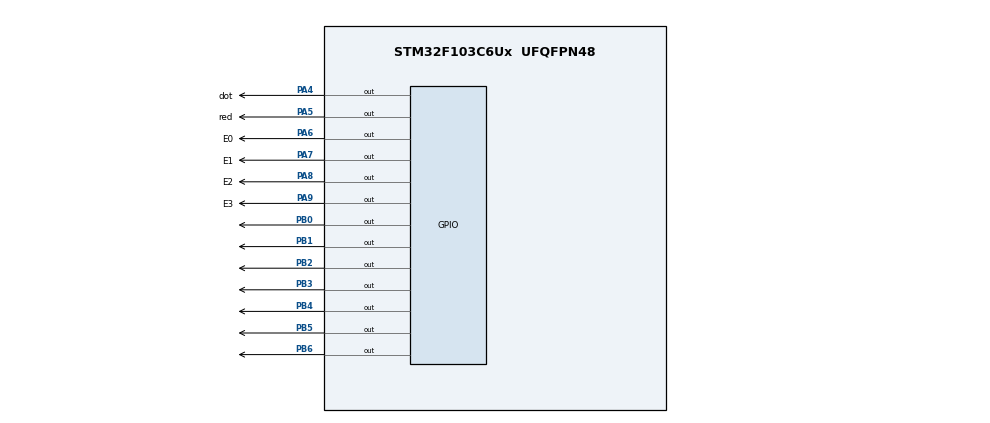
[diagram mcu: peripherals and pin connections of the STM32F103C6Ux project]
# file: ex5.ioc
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Mcu.Family=STM32F1
Mcu.Name=STM32F103C6Ux
Mcu.Package=UFQFPN48
NVIC.PriorityGroup=NVIC_PRIORITYGROUP_4
NVIC.TIM2_IRQn=true\:0\:0\:false\:false\:true\:true\:true
PA4.GPIO_Label=dot
PA4.Signal=GPIO_Output
PA5.GPIO_Label=red
PA5.Signal=GPIO_Output
PA6.GPIO_Label=E0
PA6.Signal=GPIO_Output
PA7.GPIO_Label=E1
PA7.Signal=GPIO_Output
PA8.GPIO_Label=E2
PA8.Signal=GPIO_Output
PA9.GPIO_Label=E3
PA9.Signal=GPIO_Output
PB0.Signal=GPIO_Output
PB1.Signal=GPIO_Output
PB2.Signal=GPIO_Output
PB3.Signal=GPIO_Output
PB4.Signal=GPIO_Output
PB5.Signal=GPIO_Output
PB6.Signal=GPIO_Output
ProjectManager.HeapSize=0x200
ProjectManager.StackSize=0x400
ProjectManager.TargetToolchain=STM32CubeIDE
RCC.APB1Freq_Value=8000000
RCC.APB2Freq_Value=8000000
TIM2.Period=9
TIM2.Prescaler=7999
VP_SYS_VS_ND.Mode=No_Debug
VP_TIM2_VS_ClockSourceINT.Mode=Internal
board=custom

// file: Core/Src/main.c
/* USER CODE BEGIN Header */
/**
  ******************************************************************************
  * @file           : main.c
  * @brief          : Main program body
  ******************************************************************************
  * @attention
  *
  * <h2><center>&copy; Copyright (c) 2023 STMicroelectronics.
  * All rights reserved.</center></h2>
  *
  * This software component is licensed by ST under BSD 3-Clause license,
  * the "License"; You may not use this file except in compliance with the
  * License. You may obtain a copy of the License at:
  *                        opensource.org/licenses/BSD-3-Clause
  *
  ******************************************************************************
  */
/* USER CODE END Header */
#include "main.h"

TIM_HandleTypeDef htim2;

void SystemClock_Config(void);
static void MX_GPIO_Init(void);
static void MX_TIM2_Init(void);

/* USER CODE BEGIN 0 */
int hour = 23 , minute = 9 , second = 3;
const int MAX_LED = 4;
int index_led = 0; // state
int led_buffer[4];
/* USER CODE END 0 */

int main(void)
{

  /* MCU Configuration--------------------------------------------------------*/

  /* Reset of all peripherals, Initializes the Flash interface and the Systick. */
  HAL_Init();

  /* Configure the system clock */
  SystemClock_Config();

  /* Initialize all configured peripherals */
  MX_GPIO_Init();
  MX_TIM2_Init();
  /* USER CODE BEGIN 2 */
  HAL_TIM_Base_Start_IT(&htim2);
  /* USER CODE END 2 */

  /* Infinite loop */
  /* USER CODE BEGIN WHILE */
  while (1)
  {
	  second++;
	  if ( second >= 60) {
		  second = 0;
		  minute ++;
	  }
	  if( minute >= 60) {
		  minute = 0;
		  hour ++;
	  }
	  if( hour >=24) {
		  hour = 0;
	  }
	  updateClockBuffer();
	  HAL_Delay(1000);
    /* USER CODE END WHILE */

  }
}

void SystemClock_Config(void)
{
  RCC_OscInitTypeDef RCC_OscInitStruct = {0};
  RCC_ClkInitTypeDef RCC_ClkInitStruct = {0};

  /** Initializes the RCC Oscillators according to the specified parameters
  * in the RCC_OscInitTypeDef structure.
  */
  RCC_OscInitStruct.OscillatorType = RCC_OSCILLATORTYPE_HSI;
  RCC_OscInitStruct.HSIState = RCC_HSI_ON;
  RCC_OscInitStruct.HSICalibrationValue = RCC_HSICALIBRATION_DEFAULT;
  RCC_OscInitStruct.PLL.PLLState = RCC_PLL_NONE;
  if (HAL_RCC_OscConfig(&RCC_OscInitStruct) != HAL_OK)
  {
    Error_Handler();
  }
  /** Initializes the CPU, AHB and APB buses clocks
  */
  RCC_ClkInitStruct.ClockType = RCC_CLOCKTYPE_HCLK|RCC_CLOCKTYPE_SYSCLK
                              |RCC_CLOCKTYPE_PCLK1|RCC_CLOCKTYPE_PCLK2;
  RCC_ClkInitStruct.SYSCLKSource = RCC_SYSCLKSOURCE_HSI;
  RCC_ClkInitStruct.AHBCLKDivider = RCC_SYSCLK_DIV1;
  RCC_ClkInitStruct.APB1CLKDivider = RCC_HCLK_DIV1;
  RCC_ClkInitStruct.APB2CLKDivider = RCC_HCLK_DIV1;

  if (HAL_RCC_ClockConfig(&RCC_ClkInitStruct, FLASH_LATENCY_0) != HAL_OK)
  {
    Error_Handler();
  }
}

static void MX_TIM2_Init(void)
{

  TIM_ClockConfigTypeDef sClockSourceConfig = {0};
  TIM_MasterConfigTypeDef sMasterConfig = {0};

  htim2.Instance = TIM2;
  htim2.Init.Prescaler = 7999;
  htim2.Init.CounterMode = TIM_COUNTERMODE_UP;
  htim2.Init.Period = 9;
  htim2.Init.ClockDivision = TIM_CLOCKDIVISION_DIV1;
  htim2.Init.AutoReloadPreload = TIM_AUTORELOAD_PRELOAD_DISABLE;
  if (HAL_TIM_Base_Init(&htim2) != HAL_OK)
  {
    Error_Handler();
  }
  sClockSourceConfig.ClockSource = TIM_CLOCKSOURCE_INTERNAL;
  if (HAL_TIM_ConfigClockSource(&htim2, &sClockSourceConfig) != HAL_OK)
  {
    Error_Handler();
  }
  sMasterConfig.MasterOutputTrigger = TIM_TRGO_RESET;
  sMasterConfig.MasterSlaveMode = TIM_MASTERSLAVEMODE_DISABLE;
  if (HAL_TIMEx_MasterConfigSynchronization(&htim2, &sMasterConfig) != HAL_OK)
  {
    Error_Handler();
  }

}

static void MX_GPIO_Init(void)
{
  GPIO_InitTypeDef GPIO_InitStruct = {0};

  /* GPIO Ports Clock Enable */
  __HAL_RCC_GPIOA_CLK_ENABLE();
  __HAL_RCC_GPIOB_CLK_ENABLE();

  /*Configure GPIO pin Output Level */
  HAL_GPIO_WritePin(GPIOA, dot_Pin|red_Pin|E0_Pin|E1_Pin
                          |E2_Pin|E3_Pin, GPIO_PIN_RESET);

  /*Configure GPIO pin Output Level */
  HAL_GPIO_WritePin(GPIOB, GPIO_PIN_0|GPIO_PIN_1|GPIO_PIN_2|GPIO_PIN_3
                          |GPIO_PIN_4|GPIO_PIN_5|GPIO_PIN_6, GPIO_PIN_RESET);

  /*Configure GPIO pins : dot_Pin red_Pin E0_Pin E1_Pin
                           E2_Pin E3_Pin */
  GPIO_InitStruct.Pin = dot_Pin|red_Pin|E0_Pin|E1_Pin
                          |E2_Pin|E3_Pin;
  GPIO_InitStruct.Mode = GPIO_MODE_OUTPUT_PP;
  GPIO_InitStruct.Pull = GPIO_NOPULL;
  GPIO_InitStruct.Speed = GPIO_SPEED_FREQ_LOW;
  HAL_GPIO_Init(GPIOA, &GPIO_InitStruct);

  /*Configure GPIO pins : PB0 PB1 PB2 PB3
                           PB4 PB5 PB6 */
  GPIO_InitStruct.Pin = GPIO_PIN_0|GPIO_PIN_1|GPIO_PIN_2|GPIO_PIN_3
                          |GPIO_PIN_4|GPIO_PIN_5|GPIO_PIN_6;
  GPIO_InitStruct.Mode = GPIO_MODE_OUTPUT_PP;
  GPIO_InitStruct.Pull = GPIO_NOPULL;
  GPIO_InitStruct.Speed = GPIO_SPEED_FREQ_LOW;
  HAL_GPIO_Init(GPIOB, &GPIO_InitStruct);

}

/* USER CODE BEGIN 4 */

void updateClockBuffer() {
    int hour0 = hour / 10;
    int hour1 = hour % 10;
    int minute0 = minute / 10;
    int minute1 = minute % 10;

    led_buffer[0] = hour0;
    led_buffer[1] = hour1;
    led_buffer[2] = minute0;
    led_buffer[3] = minute1;
}

void display7SEG(int num)
{
    const int segments[10] = {
        0b00111111, // 0
        0b00000110, // 1
        0b01011011, // 2
        0b01001111, // 3
        0b01100110, // 4
        0b01101101, // 5
        0b01111101, // 6
        0b00000111, // 7
        0b01111111, // 8
        0b01101111  // 9
    };

    uint8_t displaySegments = segments[num];

    HAL_GPIO_WritePin(GPIOB, GPIO_PIN_0, (displaySegments & 0x01) ? GPIO_PIN_RESET : GPIO_PIN_SET);
    HAL_GPIO_WritePin(GPIOB, GPIO_PIN_1, ((displaySegments >> 1) & 0x01) ? GPIO_PIN_RESET : GPIO_PIN_SET);
    HAL_GPIO_WritePin(GPIOB, GPIO_PIN_2, ((displaySegments >> 2) & 0x01) ? GPIO_PIN_RESET : GPIO_PIN_SET);
    HAL_GPIO_WritePin(GPIOB, GPIO_PIN_3, ((displaySegments >> 3) & 0x01) ? GPIO_PIN_RESET : GPIO_PIN_SET);
    HAL_GPIO_WritePin(GPIOB, GPIO_PIN_4, ((displaySegments >> 4) & 0x01) ? GPIO_PIN_RESET : GPIO_PIN_SET);
    HAL_GPIO_WritePin(GPIOB, GPIO_PIN_5, ((displaySegments >> 5) & 0x01) ? GPIO_PIN_RESET : GPIO_PIN_SET);
    HAL_GPIO_WritePin(GPIOB, GPIO_PIN_6, ((displaySegments >> 6) & 0x01) ? GPIO_PIN_RESET : GPIO_PIN_SET);
}

void update7SEG(int index) {
    switch (index) {
        case 0:
            display7SEG(led_buffer[0]);
            break;
        case 1:
            display7SEG(led_buffer[1]);
            break;
        case 2:
            display7SEG(led_buffer[2]);
            break;
        case 3:
            display7SEG(led_buffer[3]);
            break;
        default:
            break;
    }
}
int counter = 100;
void HAL_TIM_PeriodElapsedCallback ( TIM_HandleTypeDef * htim ) {
	counter--;
	if(counter <= 0){
		counter = 100;
		HAL_GPIO_TogglePin(red_GPIO_Port, red_Pin);
		HAL_GPIO_TogglePin(dot_GPIO_Port, dot_Pin);
		if(index_led == 0) {
			HAL_GPIO_WritePin(E0_GPIO_Port, E0_Pin, RESET);
			HAL_GPIO_WritePin(E1_GPIO_Port, E1_Pin, SET);
			HAL_GPIO_WritePin(E2_GPIO_Port, E2_Pin, SET);
			HAL_GPIO_WritePin(E3_GPIO_Port, E3_Pin, SET);
			update7SEG(index_led);
		}
		else if(index_led == 1) {
			HAL_GPIO_WritePin(E0_GPIO_Port, E0_Pin, SET);
			HAL_GPIO_WritePin(E1_GPIO_Port, E1_Pin, RESET);
			HAL_GPIO_WritePin(E2_GPIO_Port, E2_Pin, SET);
			HAL_GPIO_WritePin(E3_GPIO_Port, E3_Pin, SET);
			update7SEG(index_led);
		}
		else if(index_led == 2) {
			HAL_GPIO_WritePin(E0_GPIO_Port, E0_Pin, SET);
			HAL_GPIO_WritePin(E1_GPIO_Port, E1_Pin, SET);
			HAL_GPIO_WritePin(E2_GPIO_Port, E2_Pin, RESET);
			HAL_GPIO_WritePin(E3_GPIO_Port, E3_Pin, SET);
			update7SEG(index_led);
		}
		else {
			HAL_GPIO_WritePin(E0_GPIO_Port, E0_Pin, SET);
			HAL_GPIO_WritePin(E1_GPIO_Port, E1_Pin, SET);
			HAL_GPIO_WritePin(E2_GPIO_Port, E2_Pin, SET);
			HAL_GPIO_WritePin(E3_GPIO_Port, E3_Pin, RESET);
			update7SEG(index_led);
		}
		index_led = (index_led + 1) % MAX_LED;
	}
}
/* USER CODE END 4 */

void Error_Handler(void)
{
  __disable_irq();
  while (1)
  {
  }
}

/************************ (C) COPYRIGHT STMicroelectronics *****END OF FILE****/
